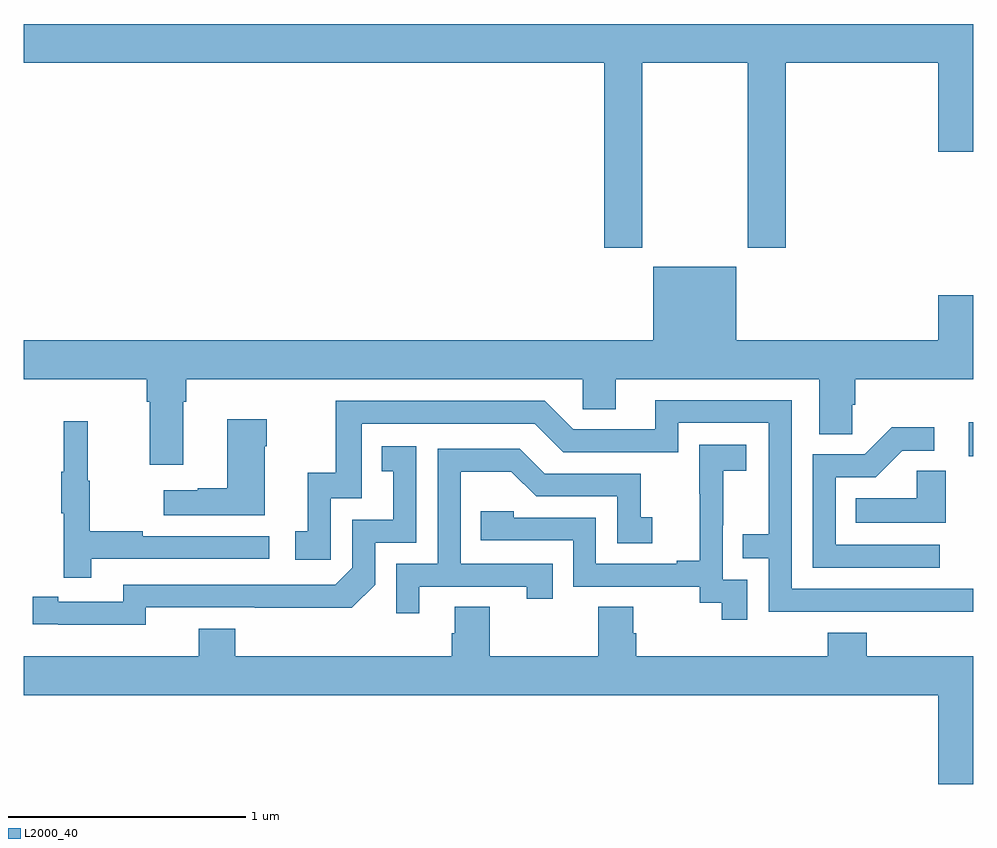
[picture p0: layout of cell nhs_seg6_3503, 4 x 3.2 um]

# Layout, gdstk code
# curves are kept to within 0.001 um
import gdstk
lib = gdstk.Library(unit=1e-6, precision=1e-09)
def R(c, l, rs):  # rectangles x0, y0, x1, y1
    for r in rs: c.add(gdstk.rectangle(r[:2], r[2:], *l))
def P(c, l, *ps):  # polygons
    for p in ps: c.add(gdstk.Polygon(p, *l))
L2000_40 = (2000, 40)

nhs_seg6_3503 = lib.new_cell('nhs_seg6_3503')
R(nhs_seg6_3503, L2000_40, [(320.981,939.018,321,939.163)])
P(nhs_seg6_3503, L2000_40, [(319.605,940.676),(320.05,940.676),(320.05,939.897),(320.21,939.897),(320.21,940.676),(320.852,940.676),(320.852,940.302),(321,940.302),(321,940.84),(317,940.84),(317,940.676),(319.445,940.676),(319.445,939.897),(319.605,939.897)],
  [(317.671,939.248),(317.684,939.248),(317.684,939.344),(319.356,939.344),(319.356,939.217),(319.495,939.217),(319.495,939.344),(320.351,939.344),(320.351,939.112),(320.49,939.112),(320.49,939.235),(320.504,939.235),(320.504,939.344),(321,939.344),(321,939.697),(320.852,939.697),(320.852,939.508),(320.002,939.508),(320.002,939.817),(319.652,939.817),(319.652,939.508),(317,939.508),(317,939.344),(317.519,939.344),(317.519,939.248),(317.531,939.248),(317.531,938.982),(317.671,938.982)],
  [(321,938.46),(320.235,938.46),(320.235,939.255),(319.661,939.255),(319.661,939.132),(319.314,939.132),(319.194,939.252),(318.315,939.252),(318.315,938.95),(318.197,938.95),(318.197,938.703),(318.144,938.703),(318.144,938.583),(318.294,938.583),(318.294,938.841),(318.423,938.841),(318.423,939.156),(319.152,939.156),(319.272,939.036),(319.758,939.036),(319.758,939.159),(320.139,939.159),(320.139,938.69),(320.029,938.69),(320.029,938.589),(320.139,938.589),(320.139,938.364),(321,938.363)],
  [(318.016,939.062),(318.024,939.062),(318.024,939.175),(317.858,939.175),(317.858,938.885),(317.732,938.885),(317.732,938.875),(317.589,938.875),(317.589,938.771),(318.016,938.771)],
  [(317.285,938.586),(318.034,938.586),(318.034,938.682),(317.501,938.682),(317.501,938.702),(317.278,938.702),(317.278,938.916),(317.27,938.916),(317.27,939.166),(317.168,939.166),(317.168,938.953),(317.157,938.953),(317.157,938.779),(317.168,938.779),(317.168,938.508),(317.285,938.508)],
  [(320.86,938.646),(320.421,938.646),(320.421,938.931),(320.59,938.931),(320.701,939.042),(320.836,939.042),(320.836,939.14),(320.657,939.14),(320.544,939.027),(320.325,939.027),(320.325,938.55),(320.86,938.55)],
  [(320.049,938.499),(319.944,938.499),(319.944,938.729),(319.946,938.729),(319.946,938.957),(320.044,938.957),(320.044,939.067),(319.846,939.067),(319.846,938.861),(319.847,938.861),(319.847,938.578),(319.751,938.578),(319.751,938.565),(319.41,938.565),(319.41,938.76),(319.065,938.76),(319.065,938.787),(318.925,938.787),(318.925,938.664),(319.314,938.664),(319.314,938.469),(319.848,938.469),(319.848,938.401),(319.941,938.401),(319.941,938.331),(320.049,938.331)],
  [(317.514,938.382),(318.382,938.381),(318.48,938.478),(318.48,938.655),(318.654,938.655),(318.654,939.061),(318.508,939.061),(318.508,938.955),(318.557,938.955),(318.557,938.751),(318.384,938.751),(318.384,938.55),(318.312,938.478),(317.418,938.478),(317.418,938.406),(317.146,938.406),(317.146,938.426),(317.038,938.426),(317.038,938.31),(317.514,938.309)],
  [(318.667,938.469),(319.118,938.469),(319.118,938.418),(319.229,938.418),(319.229,938.565),(318.84,938.565),(318.84,938.954),(319.054,938.954),(319.158,938.85),(319.5,938.85),(319.5,938.652),(319.648,938.652),(319.648,938.761),(319.599,938.761),(319.599,938.946),(319.195,938.946),(319.09,939.051),(318.744,939.051),(318.744,938.565),(318.57,938.565),(318.57,938.358),(318.667,938.358)],
  [(320.884,938.957),(320.763,938.957),(320.763,938.842),(320.506,938.842),(320.506,938.738),(320.884,938.738)],
  [(321,938.176),(320.552,938.176),(320.552,938.275),(320.387,938.275),(320.387,938.176),(319.58,938.176),(319.58,938.274),(319.567,938.274),(319.567,938.384),(319.42,938.384),(319.42,938.176),(318.963,938.176),(318.963,938.384),(318.815,938.384),(318.815,938.274),(318.803,938.274),(318.803,938.176),(317.891,938.176),(317.891,938.293),(317.738,938.293),(317.738,938.176),(317,938.176),(317,938.012),(320.852,938.012),(320.852,937.638),(321,937.638)])

lib.write_gds('nhs_seg6_3503.gds')
